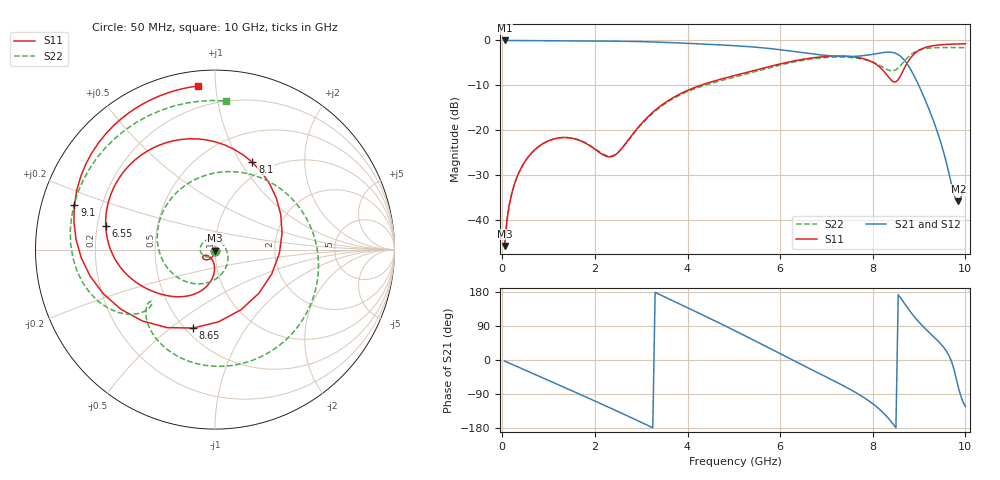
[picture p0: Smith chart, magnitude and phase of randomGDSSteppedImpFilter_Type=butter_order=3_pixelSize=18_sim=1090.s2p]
! freq	dB(S11)	phase(S11)	dB(S12)	phase(S12)
!  dB(S21)	phase(S21)	dB(S22)	phase(S22)
!S-par simulation data
#  GHz  S  DB  R 50
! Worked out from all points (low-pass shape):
!   200 points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, 50 MHz to 10 GHz, reference 50 ohm
!   highest |S21| = -0.01 dB at 50 MHz (marker M1); lowest = -35.9 dB at 9.85 GHz (marker M2)
!   |S21| within 3 dB of the highest: start of sweep to 6.696 GHz; 8.053 GHz to 8.52 GHz (467.7 MHz wide, 5.64 % of centre)
!   lowest |S11| = -45.9 dB at 50 MHz (marker M3), VSWR 1.01, Z = 50 - j0.507 ohm
!   |S11| at or under -10 dB: start of sweep to 4.288 GHz
!   |S22| runs from -45.9 to -1.6 dB; largest |S21 - S12| = 0
!   S11 on the Smith chart (normalised r, x): 50 MHz: 1.00, -0.01; 6.55 GHz: 0.23, +0.10; 8.1 GHz: 0.83, +1.13; 8.65 GHz: 0.55, -0.60; 9.1 GHz: 0.10, +0.15; 10 GHz: 0.08, +0.90
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0.05  -45.89 -87.6  -0.01 -2.8  -0.01 -2.8  -45.91 -88.8
0.2  -34.33 -97.7  -0.02 -10.9  -0.02 -10.9  -34.36 -102.3
0.55  -26.13 -113.5  -0.05 -29.8  -0.05 -29.8  -26.16 -126.8
1.2  -21.79 -138.7  -0.11 -64.7  -0.11 -64.7  -21.79 -172.6
1.75  -22.68 -151.6  -0.13 -94.5  -0.13 -94.5  -22.62 140.6
2.4  -25.79 -118.5  -0.17 -130.4  -0.17 -130.4  -25.68 37.5
3.4  -14.75 -98.4  -0.39 172.6  -0.39 172.6  -14.97 -96.9
4.3  -9.96 -124.5  -0.79 120.4  -0.79 120.4  -10.25 -175.3
5.05  -7.75 -144.6  -1.19 75.7  -1.19 75.7  -8.08 115.0
5.7  -6.01 -162.3  -1.73 35.5  -1.73 35.5  -6.30 51.7
6.55  -4.11 167.8  -2.81 -17.4  -2.81 -17.4  -4.33 -24.5
6.7  -3.89 161.6  -3.01 -26.6  -3.01 -26.6  -4.11 -36.6
7.4  -3.51 127.1  -3.59 -70.1  -3.59 -70.1  -3.73 -89.0
8.1  -5.53 66.8  -2.92 -125.2  -2.92 -125.2  -5.31 -134.8
8.35  -8.29 13.8  -2.61 -155.6  -2.61 -155.6  -6.67 -141.4
8.5  -9.24 -44.8  -2.90 -178.9  -2.90 -178.9  -6.55 -138.9
8.65  -6.86 -105.7  -4.03 155.0  -4.03 155.0  -5.01 -140.5
8.85  -3.49 -158.4  -7.07 121.3  -7.07 121.3  -2.97 -156.0
9.1  -1.71 162.4  -12.50 86.7  -12.50 86.7  -1.89 178.0
9.45  -0.99 129.4  -22.17 44.8  -22.17 44.8  -1.59 141.9
9.85  -0.79 103.9  -35.89 -73.5  -35.89 -73.5  -1.60 101.2
10  -0.76 96.0  -32.77 -122.9  -32.77 -122.9  -1.61 85.8
